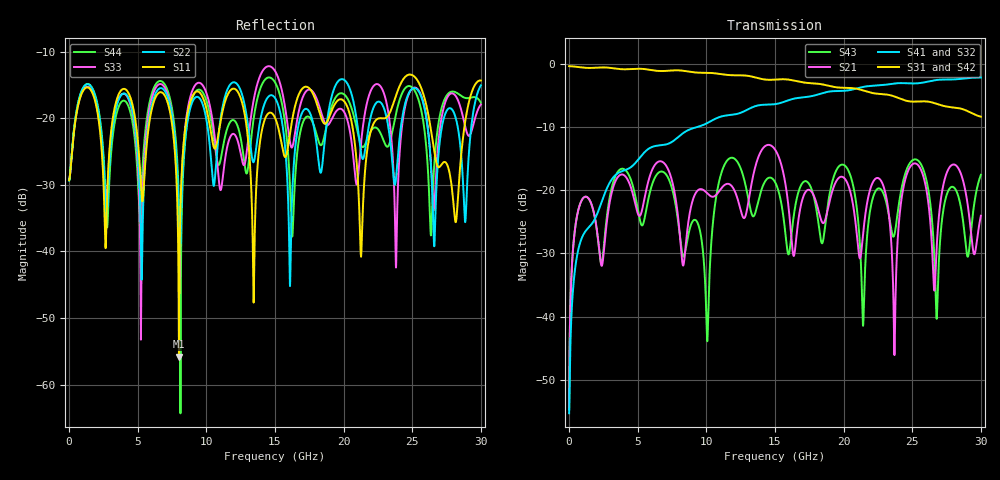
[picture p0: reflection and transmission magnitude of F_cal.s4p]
!diffpair-meanders F_cal (U-bend, broad trombone lengthened by its EM residual), mesh medium
!ports 1 P_near 2 N_near 3 P_far 4 N_far; openEMS FDTD, lumped 50 ohm ports
# Hz S RI R 50.0
! Port[1] = P_near
! Port[2] = N_near
! Port[3] = P_far
! Port[4] = N_far
!freq ReS11 ImS11 ReS12 ImS12 ReS13 ImS13
! ReS14 ImS14
! ReS21 ImS21 ReS22 ImS22 ReS23 ImS23
! ReS24 ImS24
! ReS31 ImS31 ReS32 ImS32 ReS33 ImS33
! ReS34 ImS34
! ReS41 ImS41 ReS42 ImS42 ReS43 ImS43
! ReS44 ImS44
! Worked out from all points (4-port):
!   3000 points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, 10 MHz to 30 GHz, reference 50 ohm
!   strongest paths, dB at 10 MHz, 7.51 GHz, 15.01 GHz, 22.51 GHz, 30 GHz:
!     S31: -0.4, -1.1, -2.5, -4.8, -8.4
!     S42: -0.4, -1.1, -2.6, -4.7, -8.3
!     S41: -55.3, -12.4, -6.4, -3.5, -2.2
!     S32: -55.3, -12.3, -6.6, -3.5, -2.0
!     S21: -54.7, -18.6, -13.6, -18.1, -24.0
!     S43: -54.6, -19.8, -18.7, -19.7, -17.6
!   lowest |S11| = -55.8 dB at 8.01 GHz (marker M1), VSWR 1.00, Z = 50.2 + j0.0295 ohm
!   |S11| at or under -10 dB: start of sweep to end of sweep
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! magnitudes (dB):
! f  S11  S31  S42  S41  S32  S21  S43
! 10 MHz  -29.3  -0.4  -0.4  -55.3  -55.3  -54.7  -54.6
! 1.02 GHz  -15.9  -0.6  -0.7  -27.1  -27.2  -21.3  -21.3
! 6.95 GHz  -16.5  -1.2  -1.2  -12.8  -12.8  -15.8  -17.2
! 8.01 GHz  -55.8  -1.1  -1.1  -11.5  -11.5  -25.6  -26.0
! 9.25 GHz  -16.0  -1.4  -1.4  -10.1  -10.1  -20.4  -24.8
! 13.45 GHz  -47.7  -2.1  -2.2  -6.8  -6.9  -17.4  -24.1
! 30 GHz  -14.3  -8.4  -8.3  -2.2  -2.0  -24.0  -17.6
